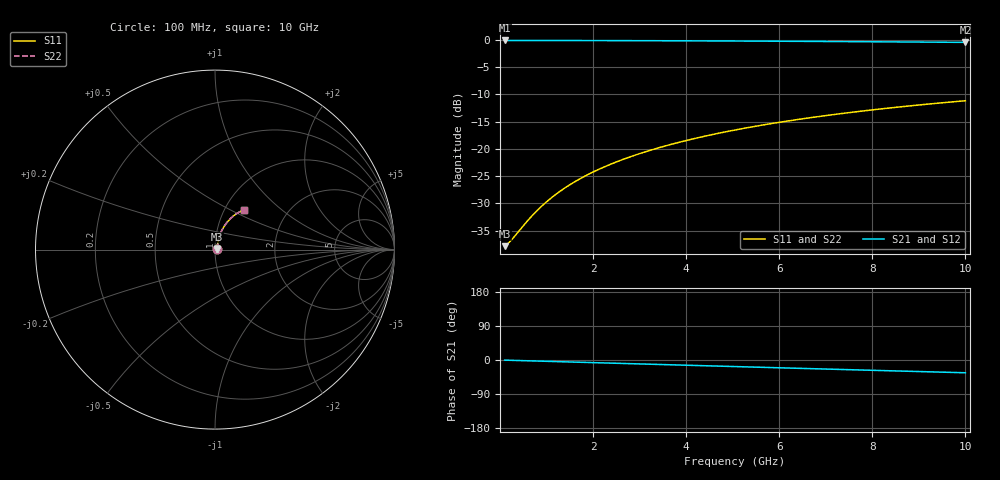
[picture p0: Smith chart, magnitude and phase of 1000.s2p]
# Hz S RI R 50.00
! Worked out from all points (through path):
!   100 points, 100 MHz to 10 GHz, reference 50 ohm
!   highest |S21| = -0.11 dB at 100 MHz (marker M1); lowest = -0.5 dB at 10 GHz (marker M2)
!   group delay of S21, straight-line fit = 9.37 ps
!   lowest |S11| = -37.9 dB at 100 MHz (marker M3), VSWR 1.03, Z = 51.3 + j0.301 ohm
!   |S11| at or under -10 dB: start of sweep to end of sweep
!   |S22| runs from -37.9 to -11.2 dB; largest |S21 - S12| = 0
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1e8  0.0125 0.00293  0.9875 -0.00596  0.9875 -0.00596  0.0125 0.00293
2e8  0.0126 0.00586  0.9874 -0.0119  0.9874 -0.0119  0.0126 0.00586
3e8  0.0127 0.00879  0.9872 -0.0179  0.9872 -0.0179  0.0127 0.00879
5e8  0.0131 0.0146  0.9868 -0.0298  0.9868 -0.0298  0.0131 0.0146
7e8  0.0136 0.0205  0.9861 -0.0417  0.9861 -0.0417  0.0136 0.0205
8e8  0.0139 0.0234  0.9858 -0.0476  0.9858 -0.0476  0.0139 0.0234
1e9  0.0146 0.0292  0.9849 -0.0595  0.9849 -0.0595  0.0146 0.0292
1.2e9  0.0154 0.035  0.9839 -0.0713  0.9839 -0.0713  0.0154 0.035
1.4e9  0.0164 0.0408  0.9827 -0.0831  0.9827 -0.0831  0.0164 0.0408
1.6e9  0.0175 0.0465  0.9813 -0.0949  0.9813 -0.0949  0.0175 0.0465
1.8e9  0.0187 0.0522  0.9798 -0.1067  0.9798 -0.1067  0.0187 0.0522
2.1e9  0.0208 0.0607  0.9771 -0.1243  0.9771 -0.1243  0.0208 0.0607
2.5e9  0.024 0.0719  0.973 -0.1476  0.973 -0.1476  0.024 0.0719
2.9e9  0.0278 0.0829  0.9682 -0.1707  0.9682 -0.1707  0.0278 0.0829
3.4e9  0.0333 0.0964  0.9613 -0.1993  0.9613 -0.1993  0.0333 0.0964
4.2e9  0.0436 0.1171  0.9481 -0.2442  0.9481 -0.2442  0.0436 0.1171
5.1e9  0.0574 0.1389  0.9304 -0.2934  0.9304 -0.2934  0.0574 0.1389
5.9e9  0.0715 0.1569  0.9122 -0.3356  0.9122 -0.3356  0.0715 0.1569
6.7e9  0.0871 0.1733  0.8918 -0.3763  0.8918 -0.3763  0.0871 0.1733
7.5e9  0.104 0.1881  0.8695 -0.4154  0.8695 -0.4154  0.104 0.1881
8.4e9  0.1244 0.2027  0.8422 -0.4573  0.8422 -0.4573  0.1244 0.2027
1e10  0.1634 0.2228  0.789 -0.526  0.789 -0.526  0.1634 0.2228
